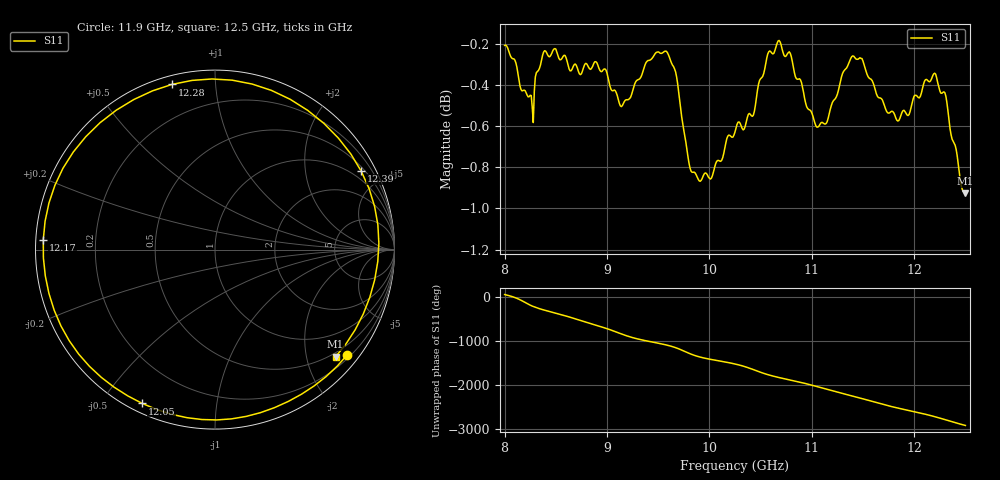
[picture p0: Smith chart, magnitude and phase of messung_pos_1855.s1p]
#  HZ  S  RI  R  50.00
! Rohde & Schwarz Vector Network Analyzer
! Rohde-Schwarz,ZNA43-4Port,1332450044101932,2.92
! Created: UTC 6/1/2026, 11:34:26 AM
! freq[Hz]  re:S11  im:S11
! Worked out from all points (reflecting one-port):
!   451 points, 8 GHz to 12.5 GHz, reference 50 ohm
!   lowest |S11| = -0.9 dB at 12.5 GHz (marker M1), VSWR 18.76, Z = 20.7 - j129 ohm
!   phase of S11 starts at 47 deg and turns -2969 deg over the sweep
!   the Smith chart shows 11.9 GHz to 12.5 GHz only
!   S11 on the Smith chart (normalised r, x): 11.9 GHz: 0.27, -2.83; 12.05 GHz: 0.04, -0.63; 12.17 GHz: 0.02, +0.03; 12.28 GHz: 0.04, +0.77; 12.39 GHz: 0.64, +3.87; 12.5 GHz: 0.41, -2.57
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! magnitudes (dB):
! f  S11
! 8 GHz  -0.2
! 8.26 GHz  -0.5
! 8.39 GHz  -0.2
! 8.57 GHz  -0.3
! 8.98 GHz  -0.3
! 9.13 GHz  -0.5
! 9.49 GHz  -0.2
! 9.59 GHz  -0.2
! 9.69 GHz  -0.4
! 9.81 GHz  -0.8
! 9.9 GHz  -0.9
! 10.02 GHz  -0.9
! 10.25 GHz  -0.6
! 10.43 GHz  -0.5
! 10.57 GHz  -0.2
! 10.67 GHz  -0.2
! 10.82 GHz  -0.3
! 11.06 GHz  -0.6
! 11.38 GHz  -0.3
! 11.49 GHz  -0.3
! 11.74 GHz  -0.5
! 11.9 GHz  -0.5
! 11.94 GHz  -0.5
! 12.05 GHz  -0.5
! 12.17 GHz  -0.4
! 12.28 GHz  -0.4
! 12.39 GHz  -0.7
! 12.5 GHz  -0.9
